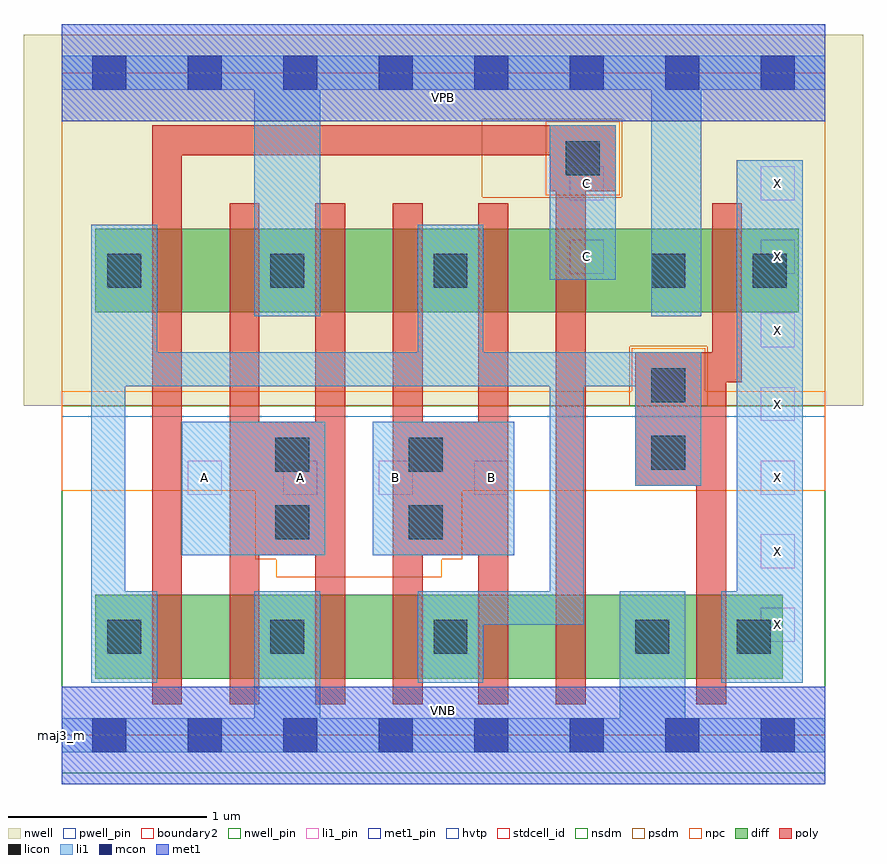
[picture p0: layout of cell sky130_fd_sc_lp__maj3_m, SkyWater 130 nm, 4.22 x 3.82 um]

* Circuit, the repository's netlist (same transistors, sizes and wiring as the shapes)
* Copyright 2020 The SkyWater PDK Authors
*
* Licensed under the Apache License, Version 2.0 (the "License");
* you may not use this file except in compliance with the License.
* You may obtain a copy of the License at
*
*     https://www.apache.org/licenses/LICENSE-2.0
*
* Unless required by applicable law or agreed to in writing, software
* distributed under the License is distributed on an "AS IS" BASIS,
* WITHOUT WARRANTIES OR CONDITIONS OF ANY KIND, either express or implied.
* See the License for the specific language governing permissions and
* limitations under the License.
*
* SPDX-License-Identifier: Apache-2.0

.SUBCKT sky130_fd_sc_lp__maj3_m A B C VGND VNB VPB VPWR X
*.PININFO A:I B:I C:I VGND:I VNB:I VPB:I VPWR:I X:O
MMIN2 X y VGND VNB sky130_fd_pr__nfet_01v8 m=1 w=0.42U l=0.15U mult=1 sa=0.265
+ sb=0.265 sd=0.28 area=0.063 perim=1.14
MMN10 y B sndNBa VNB sky130_fd_pr__nfet_01v8 m=1 w=0.42U l=0.15U mult=1 sa=0.265
+ sb=0.265 sd=0.28 area=0.063 perim=1.14
MMN11 sndNBa A VGND VNB sky130_fd_pr__nfet_01v8 m=1 w=0.42U l=0.15U mult=1 sa=0.265
+ sb=0.265 sd=0.28 area=0.063 perim=1.14
MMN20 y B sndNBc VNB sky130_fd_pr__nfet_01v8 m=1 w=0.42U l=0.15U mult=1 sa=0.265
+ sb=0.265 sd=0.28 area=0.063 perim=1.14
MMN21 sndNBc C VGND VNB sky130_fd_pr__nfet_01v8 m=1 w=0.42U l=0.15U mult=1 sa=0.265
+ sb=0.265 sd=0.28 area=0.063 perim=1.14
MMN30 y C sndNCa VNB sky130_fd_pr__nfet_01v8 m=1 w=0.42U l=0.15U mult=1 sa=0.265
+ sb=0.265 sd=0.28 area=0.063 perim=1.14
MMN31 sndNCa A VGND VNB sky130_fd_pr__nfet_01v8 m=1 w=0.42U l=0.15U mult=1 sa=0.265
+ sb=0.265 sd=0.28 area=0.063 perim=1.14
MMIP2 X y VPWR VPB sky130_fd_pr__pfet_01v8_hvt m=1 w=0.42U l=0.15U mult=1 sa=0.265
+ sb=0.265 sd=0.28 area=0.063 perim=1.14
MMP10 VPWR A sndPAb VPB sky130_fd_pr__pfet_01v8_hvt m=1 w=0.42U l=0.15U mult=1
+ sa=0.265 sb=0.265 sd=0.28 area=0.063 perim=1.14
MMP11 sndPAb B y VPB sky130_fd_pr__pfet_01v8_hvt m=1 w=0.42U l=0.15U mult=1 sa=0.265
+ sb=0.265 sd=0.28 area=0.063 perim=1.14
MMP20 VPWR C sndPCb VPB sky130_fd_pr__pfet_01v8_hvt m=1 w=0.42U l=0.15U mult=1
+ sa=0.265 sb=0.265 sd=0.28 area=0.063 perim=1.14
MMP21 sndPCb B y VPB sky130_fd_pr__pfet_01v8_hvt m=1 w=0.42U l=0.15U mult=1 sa=0.265
+ sb=0.265 sd=0.28 area=0.063 perim=1.14
MMP30 VPWR A sndPAc VPB sky130_fd_pr__pfet_01v8_hvt m=1 w=0.42U l=0.15U mult=1
+ sa=0.265 sb=0.265 sd=0.28 area=0.063 perim=1.14
MMP31 sndPAc C y VPB sky130_fd_pr__pfet_01v8_hvt m=1 w=0.42U l=0.15U mult=1 sa=0.265
+ sb=0.265 sd=0.28 area=0.063 perim=1.14
.ENDS sky130_fd_sc_lp__maj3_m

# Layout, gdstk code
import gdstk
lib = gdstk.Library(unit=1e-6, precision=1e-09)
def R(c, l, rs):  # rectangles x0, y0, x1, y1
    for r in rs: c.add(gdstk.rectangle(r[:2], r[2:], *l))
def A(c, l, x, y, w, h, nx, ny, dx, dy):  # array of equal rectangles
    R(c, l, [(x+i*dx, y+j*dy, x+i*dx+w, y+j*dy+h) for i in range(nx) for j in range(ny)])
def P(c, l, *ps):  # polygons
    for p in ps: c.add(gdstk.Polygon(p, *l))
nwell_pin = (64, 16)
nwell = (64, 20)
diff = (65, 20)
poly = (66, 20)
licon = (66, 44)
li1_pin = (67, 16)
li1 = (67, 20)
mcon = (67, 44)
met1_pin = (68, 16)
met1 = (68, 20)
hvtp = (78, 44)
stdcell_id = (81, 4)
nsdm = (93, 44)
psdm = (94, 20)
npc = (95, 20)
pwell_pin = (122, 16)
boundary2 = (236, 0)

sky130_fd_sc_lp__maj3_m = lib.new_cell('sky130_fd_sc_lp__maj3_m')
R(sky130_fd_sc_lp__maj3_m, nwell_pin, [(0,3.085,3.84,3.33)])
R(sky130_fd_sc_lp__maj3_m, nwell, [(-0.19,1.655,4.03,3.52)])
R(sky130_fd_sc_lp__maj3_m, diff, [(0.17,0.285,3.625,0.705), (0.17,2.125,3.705,2.545)])
P(sky130_fd_sc_lp__maj3_m, poly, [(1.425,2.675),(1.275,2.675),(1.275,1.575),(0.995,1.575),(0.995,2.675),(0.845,2.675),(0.845,0.155),(0.995,0.155),(0.995,0.905),(1.275,0.905),(1.275,0.155),(1.425,0.155)],
  [(2.245,2.675),(2.095,2.675),(2.095,1.575),(1.815,1.575),(1.815,2.675),(1.665,2.675),(1.665,0.155),(1.815,0.155),(1.815,0.905),(2.095,0.905),(2.095,0.155),(2.245,0.155)],
  [(2.785,3.065),(0.455,3.065),(0.455,0.155),(0.605,0.155),(0.605,2.915),(2.455,2.915),(2.455,2.735),(2.485,2.735),(2.485,0.155),(2.635,0.155),(2.635,2.735),(2.785,2.735)],
  [(3.42,2.675),(3.27,2.675),(3.27,1.925),(2.885,1.925),(2.885,1.255),(3.19,1.255),(3.19,0.155),(3.34,0.155),(3.34,1.775),(3.42,1.775)])
A(sky130_fd_sc_lp__maj3_m, licon, 0.23, 0.41, 0.17, 0.17, 3, 2, 0.82, 1.84)
R(sky130_fd_sc_lp__maj3_m, licon, [(2.885,0.41,3.055,0.58), (3.395,0.41,3.565,0.58), (1.075,0.985,1.245,1.155), (1.745,0.985,1.915,1.155), (1.075,1.325,1.245,1.495), (1.745,1.325,1.915,1.495), (2.965,1.335,3.135,1.505), (2.965,1.675,3.135,1.845), (2.965,2.25,3.135,2.42), (3.475,2.25,3.645,2.42), (2.535,2.815,2.705,2.985)])
A(sky130_fd_sc_lp__maj3_m, li1_pin, 3.515, 0.47, 0.17, 0.17, 1, 7, 0, 0.37)
A(sky130_fd_sc_lp__maj3_m, li1_pin, 0.635, 1.21, 0.17, 0.17, 4, 1, 0.48, 0)
R(sky130_fd_sc_lp__maj3_m, li1_pin, [(2.555,2.32,2.725,2.49), (2.555,2.69,2.725,2.86)])
R(sky130_fd_sc_lp__maj3_m, li1, [(0.605,0.905,1.325,1.575), (1.565,0.905,2.275,1.575), (2.455,2.29,2.785,3.065)])
P(sky130_fd_sc_lp__maj3_m, li1, [(0.97,2.105),(0.97,3.245),(0,3.245),(0,3.415),(3.84,3.415),(3.84,3.245),(3.215,3.245),(3.215,2.105),(2.965,2.105),(2.965,3.245),(1.3,3.245),(1.3,2.105)],
  [(0.97,0.085),(0.97,0.725),(1.3,0.725),(1.3,0.085),(2.805,0.085),(2.805,0.725),(3.135,0.725),(3.135,0.085),(3.84,0.085),(3.84,-0.085),(0,-0.085),(0,0.085)],
  [(0.48,1.925),(1.79,1.925),(1.79,2.565),(2.12,2.565),(2.12,1.925),(3.215,1.925),(3.215,1.255),(2.885,1.255),(2.885,1.755),(2.625,1.755),(2.625,0.555),(2.12,0.555),(2.12,0.265),(1.79,0.265),(1.79,0.725),(2.455,0.725),(2.455,1.755),(0.32,1.755),(0.32,0.725),(0.48,0.725),(0.48,0.265),(0.15,0.265),(0.15,2.565),(0.48,2.565)],
  [(3.395,0.725),(3.395,2.89),(3.725,2.89),(3.725,0.265),(3.315,0.265),(3.315,0.725)])
A(sky130_fd_sc_lp__maj3_m, mcon, 0.155, -0.085, 0.17, 0.17, 8, 2, 0.48, 3.33)
R(sky130_fd_sc_lp__maj3_m, met1_pin, [(0,0,3.84,0.245), (0,3.085,3.84,3.33)])
R(sky130_fd_sc_lp__maj3_m, met1, [(0,-0.245,3.84,0.245), (0,3.085,3.84,3.575)])
R(sky130_fd_sc_lp__maj3_m, hvtp, [(0,1.6,3.84,3.33)])
R(sky130_fd_sc_lp__maj3_m, stdcell_id, [(0,0,3.84,3.33)])
R(sky130_fd_sc_lp__maj3_m, nsdm, [(0,-0.19,3.84,1.655)])
P(sky130_fd_sc_lp__maj3_m, psdm, [(3.84,3.52),(2.815,3.52),(2.815,2.705),(2.115,2.705),(2.115,3.095),(2.815,3.095),(2.815,3.52),(0,3.52),(0,1.655),(2.855,1.655),(2.855,1.955),(3.245,1.955),(3.245,1.655),(3.84,1.655)])
R(sky130_fd_sc_lp__maj3_m, npc, [(2.435,2.715,2.805,3.085)])
P(sky130_fd_sc_lp__maj3_m, npc, [(3.84,1.73),(3.235,1.73),(3.235,1.945),(2.865,1.945),(2.865,1.73),(0,1.73),(0,1.23),(0.975,1.23),(0.975,0.885),(1.08,0.885),(1.08,0.795),(1.91,0.795),(1.91,0.885),(2.015,0.885),(2.015,1.23),(3.84,1.23)])
R(sky130_fd_sc_lp__maj3_m, pwell_pin, [(0,0,3.84,0.245)])
R(sky130_fd_sc_lp__maj3_m, boundary2, [(0,0,3.84,3.33)])
sky130_fd_sc_lp__maj3_m.add(gdstk.Label('VNB', (1.92,0.123), layer=64, texttype=59))
sky130_fd_sc_lp__maj3_m.add(gdstk.Label('VPB', (1.92,3.208), layer=64, texttype=5))
sky130_fd_sc_lp__maj3_m.add(gdstk.Label('maj3_m', (0,0), layer=83, texttype=44))
sky130_fd_sc_lp__maj3_m.add(gdstk.Label('VPWR', (1.92,3.208), layer=68, texttype=5))
sky130_fd_sc_lp__maj3_m.add(gdstk.Label('VGND', (1.92,0.123), layer=68, texttype=5))
sky130_fd_sc_lp__maj3_m.add(gdstk.Label('A', (0.72,1.295), layer=67, texttype=5))
sky130_fd_sc_lp__maj3_m.add(gdstk.Label('A', (1.2,1.295), layer=67, texttype=5))
sky130_fd_sc_lp__maj3_m.add(gdstk.Label('B', (1.68,1.295), layer=67, texttype=5))
sky130_fd_sc_lp__maj3_m.add(gdstk.Label('B', (2.16,1.295), layer=67, texttype=5))
sky130_fd_sc_lp__maj3_m.add(gdstk.Label('C', (2.64,2.405), layer=67, texttype=5))
sky130_fd_sc_lp__maj3_m.add(gdstk.Label('C', (2.64,2.775), layer=67, texttype=5))
sky130_fd_sc_lp__maj3_m.add(gdstk.Label('X', (3.6,0.555), layer=67, texttype=5))
sky130_fd_sc_lp__maj3_m.add(gdstk.Label('X', (3.6,0.925), layer=67, texttype=5))
sky130_fd_sc_lp__maj3_m.add(gdstk.Label('X', (3.6,1.295), layer=67, texttype=5))
sky130_fd_sc_lp__maj3_m.add(gdstk.Label('X', (3.6,1.665), layer=67, texttype=5))
sky130_fd_sc_lp__maj3_m.add(gdstk.Label('X', (3.6,2.035), layer=67, texttype=5))
sky130_fd_sc_lp__maj3_m.add(gdstk.Label('X', (3.6,2.405), layer=67, texttype=5))
sky130_fd_sc_lp__maj3_m.add(gdstk.Label('X', (3.6,2.775), layer=67, texttype=5))

lib.write_gds('sky130_fd_sc_lp__maj3_m.gds')
